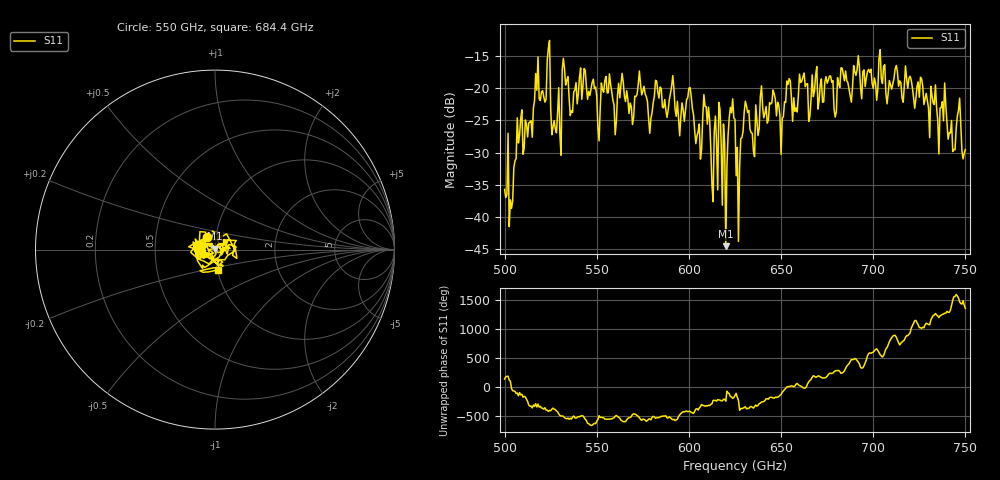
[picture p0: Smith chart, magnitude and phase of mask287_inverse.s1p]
!Created with skrf (http://scikit-rf.org).
# GHz S MA R 50.0
!freq magS11 angS11
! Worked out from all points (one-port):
!   401 points, 500 GHz to 750 GHz, reference 50 ohm
!   lowest |S11| = -44.5 dB at 620 GHz (marker M1), VSWR 1.01, Z = 49.8 + j0.542 ohm
!   |S11| at or under -10 dB: start of sweep to end of sweep
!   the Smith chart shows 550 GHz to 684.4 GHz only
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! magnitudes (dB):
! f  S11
! 500 GHz  -35.7
! 503.8 GHz  -38.7
! 508.1 GHz  -27.3
! 513.8 GHz  -25.2
! 516.9 GHz  -17.7
! 523.8 GHz  -13.8
! 526.9 GHz  -25.0
! 531.2 GHz  -17.1
! 562.5 GHz  -21.5
! 593.8 GHz  -22.0
! 600 GHz  -20.0
! 605.6 GHz  -25.6
! 609.4 GHz  -22.9
! 612.5 GHz  -35.0
! 615.6 GHz  -35.8
! 620 GHz  -44.5
! 622.5 GHz  -23.0
! 625 GHz  -24.8
! 626.9 GHz  -43.8
! 631.2 GHz  -22.8
! 634.4 GHz  -27.0
! 640 GHz  -22.9
! 656.2 GHz  -25.1
! 687.5 GHz  -21.2
! 718.8 GHz  -20.0
! 743.1 GHz  -29.8
! 746.2 GHz  -23.4
! 750 GHz  -29.5
